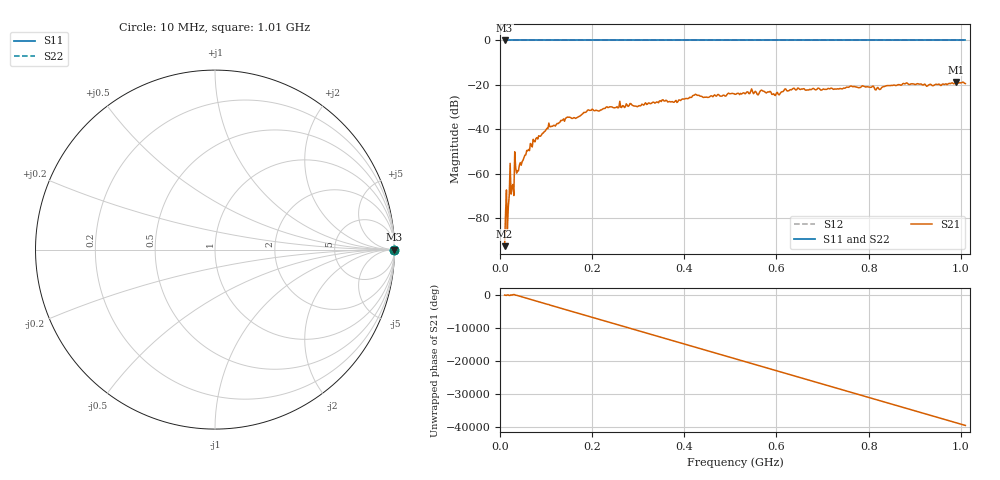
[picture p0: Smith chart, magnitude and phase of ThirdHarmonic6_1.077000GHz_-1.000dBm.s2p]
! 8/16/2025 9:51:04 AM
! C:\ANRITSUVNA\TEMP\TEMP.S2P
! CHANNEL.1
! TR.MEASUREMENT
! RAW.DATA
! RF.CORRECTION.OFF
! AVERAGING.OFF
! IF.BANDWIDTH: 5KHZ
! SWEEPTYPE:  FREQ.SWEEP(Linear)
! Reference Plane Port Info
! PORT:  PORT1  PORT2
! DISTANCE:  0  m  0  m
! TIME:  0  s  0  s
! PHASE.OFFSET:  0  deg.  0  deg.
! LOSS:  0  dB  0  dB
! REF.LOSS:  0  dB  0  dB
! REF.FREQ:  0  Hz  0  Hz
! Power Info
! POWER:  -20  dBm  -20  dBm
! EFF.POWER:  -20  dBm  -20  dBm
! SOURCE.ATTEN:  0  dB  0  dB
! TEST.ATTEN:  0  dB  0  dB
# GHZ S RI R 50.0
! FREQ.GHZ  S11RE  S11IM  S21RE  S21IM  S12RE  S12IM  S22RE  S22IM
!; PortSelection: Port_12
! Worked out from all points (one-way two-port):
!   501 points, 10 MHz to 1.01 GHz, reference 50 ohm
!   highest |S21| = -18.70 dB at 990 MHz (marker M1); lowest = -92.8 dB at 10 MHz (marker M2)
!   lowest |S11| = 0.0 dB at 10 MHz (marker M3)
!   |S11| at or under -10 dB: nowhere
!   |S22| runs from 0.0 to 0.0 dB; largest |S21 - S12| = 1.1
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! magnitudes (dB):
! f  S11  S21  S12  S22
! 10 MHz  0.0  -92.8  0.0  0.0
! 14 MHz  0.0  -67.4  0.0  0.0
! 18 MHz  0.0  -75.3  0.0  0.0
! 20 MHz  0.0  -70.0  0.0  0.0
! 24 MHz  0.0  -69.3  0.0  0.0
! 28 MHz  0.0  -64.9  0.0  0.0
! 36 MHz  0.0  -59.8  0.0  0.0
! 40 MHz  0.0  -58.8  0.0  0.0
! 76 MHz  0.0  -45.7  0.0  0.0
! 106 MHz  0.0  -37.2  0.0  0.0
! 178 MHz  0.0  -33.4  0.0  0.0
! 196 MHz  0.0  -31.5  0.0  0.0
! 344 MHz  0.0  -28.1  0.0  0.0
! 382 MHz  0.0  -27.0  0.0  0.0
! 424 MHz  0.0  -24.3  0.0  0.0
! 510 MHz  0.0  -24.3  0.0  0.0
! 570 MHz  0.0  -22.8  0.0  0.0
! 594 MHz  0.0  -24.1  0.0  0.0
! 678 MHz  0.0  -21.8  0.0  0.0
! 844 MHz  0.0  -20.4  0.0  0.0
! 990 MHz  0.0  -18.7  0.0  0.0
! 1.01 GHz  0.0  -19.4  0.0  0.0
